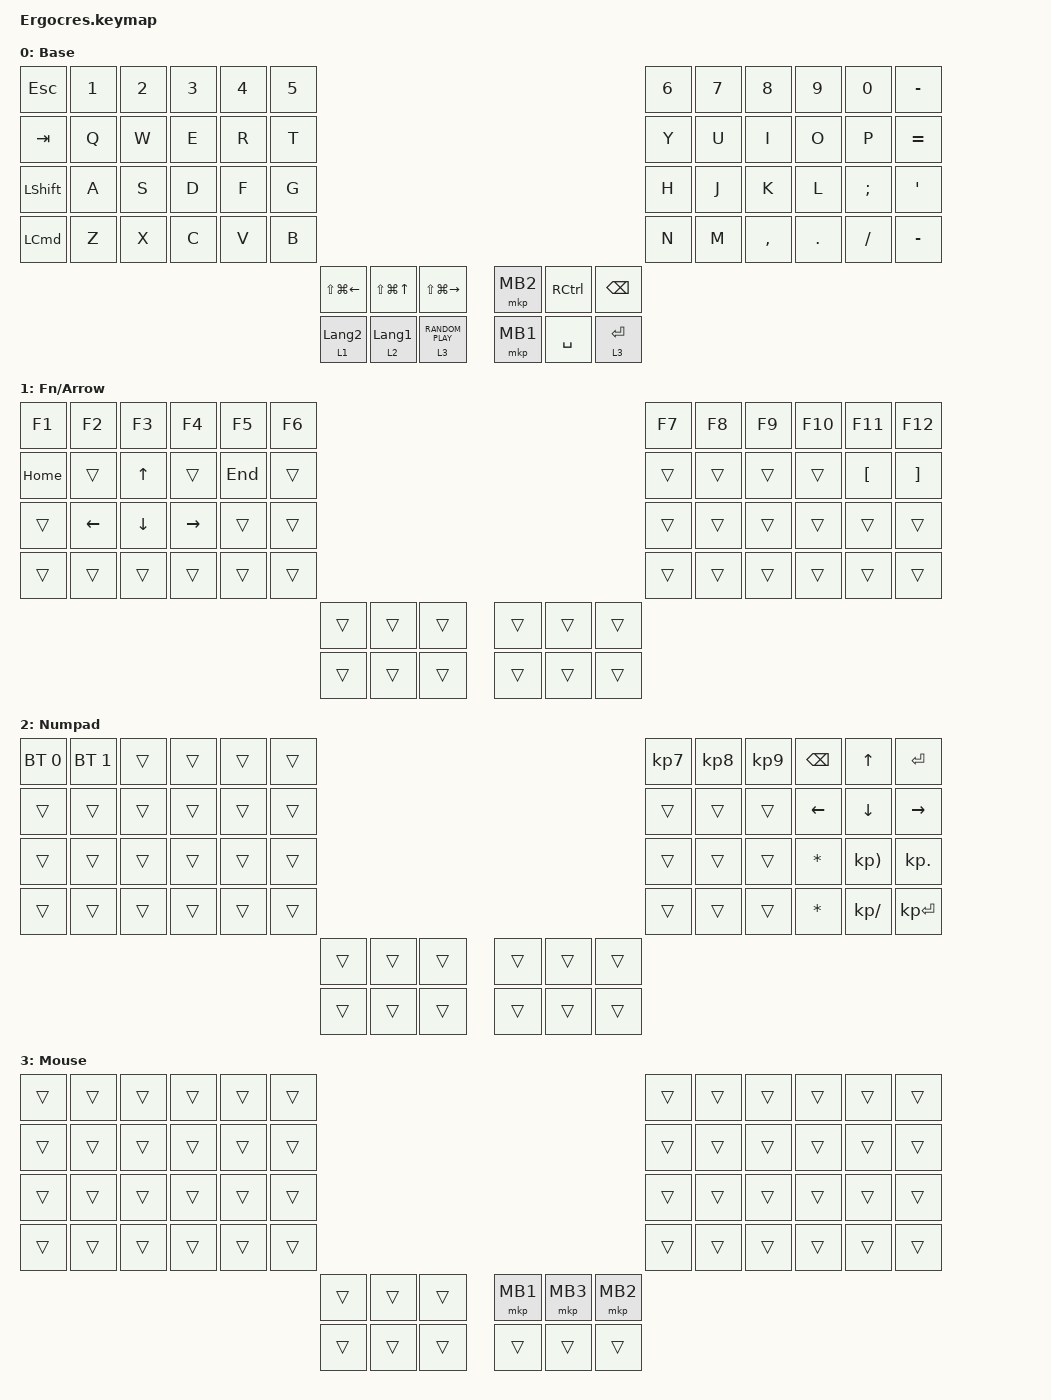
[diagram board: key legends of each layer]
#include <behaviors.dtsi>
#include <dt-bindings/zmk/bt.h>
#include <dt-bindings/zmk/keys.h>
#include <dt-bindings/zmk/pointing.h>

&mt {
    flavor = "balanced";
    quick-tap-ms = <0>;
};

/ {
    combos { compatible = "zmk,combos"; };

    macros {
        to_layer_0: to_layer_0 {
            compatible = "zmk,behavior-macro-one-param";
            #binding-cells = <1>;
            bindings = <&to 0 &macro_param_1to1 &kp MACRO_PLACEHOLDER>;
            label = "TO_LAYER_0";
        };
    };

    lt_to_layer_0: lt_to_layer_0 {
        compatible = "zmk,behavior-hold-tap";
        label = "LAYER_TAP_TO_0";
        bindings = <&mo>, <&to_layer_0>;

        #binding-cells = <2>;
        tapping-term-ms = <200>;
    };
};

/ {
    behaviors {
    };

    keymap {
        compatible = "zmk,keymap";

        default_layer {
            display-name = "Base";
            bindings = <
&kp ESCAPE        &kp N1                &kp N2             &kp N3    &kp N4     &kp N5           &kp N6                       &kp N7                       &kp N8                          &kp N9    &kp N0     &kp MINUS
&kp TAB           &kp Q                 &kp W              &kp E     &kp R      &kp T            &kp Y                        &kp U                        &kp I                           &kp O     &kp P      &kp EQUAL
&kp LEFT_SHIFT    &kp A                 &kp S              &kp D     &kp F      &kp G            &kp H                        &kp J                        &kp K                           &kp L     &kp SEMI   &kp SQT
&kp LEFT_COMMAND  &kp Z                 &kp X              &kp C     &kp V      &kp B            &kp N                        &kp M                        &kp COMMA                       &kp DOT   &kp FSLH   &kp MINUS
&kp LS(LG(LEFT))  &kp LS(LG(UP_ARROW))  &kp LS(LG(RIGHT))  &mkp MB2  &kp RCTRL  &kp BACKSPACE    &lt_to_layer_0 1 LANGUAGE_2  &lt_to_layer_0 2 LANGUAGE_1  &lt_to_layer_0 3 C_RANDOM_PLAY  &mkp MB1  &kp SPACE  &lt 3 ENTER
            >;
        };

        layer_1 {
            display-name = "Fn/Arrow";
            bindings = <
&kp F1    &kp F2          &kp F3          &kp F4           &kp F5   &kp F6    &kp F7  &kp F8  &kp F9  &kp F10  &kp F11   &kp F12
&kp HOME  &trans          &kp UP_ARROW    &trans           &kp END  &trans    &trans  &trans  &trans  &trans   &kp LBKT  &kp RBKT
&trans    &kp LEFT_ARROW  &kp DOWN_ARROW  &kp RIGHT_ARROW  &trans   &trans    &trans  &trans  &trans  &trans   &trans    &trans
&trans    &trans          &trans          &trans           &trans   &trans    &trans  &trans  &trans  &trans   &trans    &trans
&trans    &trans          &trans          &trans           &trans   &trans    &trans  &trans  &trans  &trans   &trans    &trans
            >;
        };

        layer_2 {
            display-name = "Numpad";
            bindings = <
&bt BT_SEL 0  &bt BT_SEL 1  &trans  &trans  &trans  &trans    &kp KP_NUMBER_7  &kp KP_NUMBER_8  &kp KP_NUMBER_9  &kp BACKSPACE   &kp UP_ARROW              &kp RET
&trans        &trans        &trans  &trans  &trans  &trans    &trans           &trans           &trans           &kp LEFT_ARROW  &kp DOWN_ARROW            &kp RIGHT_ARROW
&trans        &trans        &trans  &trans  &trans  &trans    &trans           &trans           &trans           &kp ASTRK       &kp KP_RIGHT_PARENTHESIS  &kp KP_DOT
&trans        &trans        &trans  &trans  &trans  &trans    &trans           &trans           &trans           &kp ASTERISK    &kp KP_SLASH              &kp KP_ENTER
&trans        &trans        &trans  &trans  &trans  &trans    &trans           &trans           &trans           &trans          &trans                    &trans
            >;
        };

        layer_3 {
            display-name = "Mouse";
            bindings = <
&trans  &trans  &trans  &trans    &trans    &trans      &trans  &trans  &trans  &trans  &trans  &trans
&trans  &trans  &trans  &trans    &trans    &trans      &trans  &trans  &trans  &trans  &trans  &trans
&trans  &trans  &trans  &trans    &trans    &trans      &trans  &trans  &trans  &trans  &trans  &trans
&trans  &trans  &trans  &trans    &trans    &trans      &trans  &trans  &trans  &trans  &trans  &trans
&trans  &trans  &trans  &mkp MB1  &mkp MB3  &mkp MB2    &trans  &trans  &trans  &trans  &trans  &trans
            >;
        };

        // Spare layers for ZMK Studio / the key-config app ("Add layer")
        extra_layer_4 { status = "reserved"; };
        extra_layer_5 { status = "reserved"; };
        extra_layer_6 { status = "reserved"; };
        extra_layer_7 { status = "reserved"; };
    };

    conditional_layers {
        compatible = "zmk,conditional-layers";

        scroll {
            if-layers = <3>;
            then-layer = <3>;
        };
    };
};
